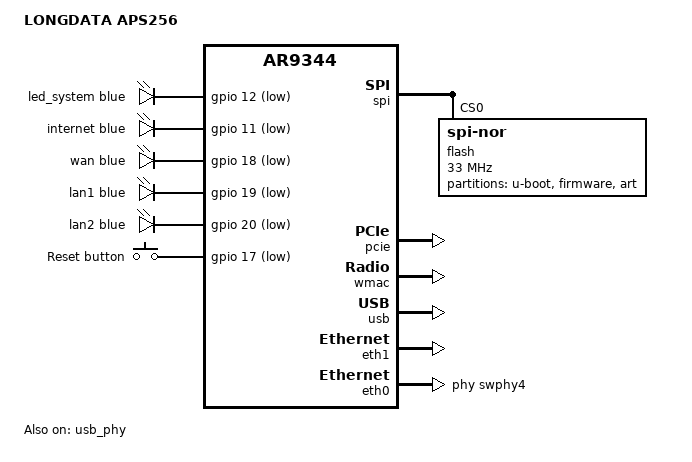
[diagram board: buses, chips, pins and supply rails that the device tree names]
// SPDX-License-Identifier: GPL-2.0-or-later OR MIT

#include "ar9344.dtsi"

#include <dt-bindings/gpio/gpio.h>
#include <dt-bindings/input/input.h>
#include <dt-bindings/leds/common.h>

/ {
	model = "LONGDATA APS256";
	compatible = "longdata,aps256", "qca,ar9344";

	aliases {
		led-boot = &led_system;
		led-failsafe = &led_system;
		led-running = &led_system;
		led-upgrade = &led_system;
		label-mac-device = &wmac;
	};

	leds: leds {
		compatible = "gpio-leds";

		led_system: system {
			function = LED_FUNCTION_STATUS;
			color = <LED_COLOR_ID_BLUE>;
			gpios = <&gpio 12 GPIO_ACTIVE_LOW>;
			default-state = "on";
		};

		internet {
			function = LED_FUNCTION_WAN_ONLINE;
			color = <LED_COLOR_ID_BLUE>;
			gpios = <&gpio 11 GPIO_ACTIVE_LOW>;
		};

		wan {
			function = LED_FUNCTION_WAN;
			color = <LED_COLOR_ID_BLUE>;
			gpios = <&gpio 18 GPIO_ACTIVE_LOW>;
		};

		lan1 {
			function = LED_FUNCTION_LAN;
			function-enumerator = <1>;
			color = <LED_COLOR_ID_BLUE>;
			gpios = <&gpio 19 GPIO_ACTIVE_LOW>;
		};

		lan2 {
			function = LED_FUNCTION_LAN;
			function-enumerator = <2>;
			color = <LED_COLOR_ID_BLUE>;
			gpios = <&gpio 20 GPIO_ACTIVE_LOW>;
		};
	};

	keys {
		compatible = "gpio-keys";

		reset {
			label = "Reset button";
			linux,code = <KEY_RESTART>;
			gpios = <&gpio 17 GPIO_ACTIVE_LOW>;
			debounce-interval = <60>;
		};
	};
};

&ref {
	clock-frequency = <40000000>;
};

&spi {
	status = "okay";

	flash@0 {
		compatible = "jedec,spi-nor";
		reg = <0>;
		spi-max-frequency = <33000000>;

		partitions {
			compatible = "fixed-partitions";
			#address-cells = <1>;
			#size-cells = <1>;

			uboot: partition@0 {
				label = "u-boot";
				reg = <0x000000 0x020000>;
				read-only;
			};

			partition@20000 {
				compatible = "denx,uimage";
				label = "firmware";
				reg = <0x020000 0xfd0000>;
			};

			partition@7f0000 {
				label = "art";
				reg = <0xff0000 0x010000>;
				read-only;


				nvmem-layout {
					compatible = "fixed-layout";
					#address-cells = <1>;
					#size-cells = <1>;

					cal_art_1000: calibration@1000 {
						reg = <0x1000 0x440>;
					};

					macaddr_art_1002: macaddr@1002 {
						compatible = "mac-base";
						reg = <0x1002 0x6>;
						#nvmem-cell-cells = <1>;
					};
				};
			};
		};
	};
};

&pcie {
	status = "okay";
};

&wmac {
	status = "okay";

	nvmem-cells = <&cal_art_1000>;
	nvmem-cell-names = "calibration";

	led {
		led-sources = <13>;
		led-active-low;
	};
};

&gpio {

};

&usb_phy {
	status = "okay";
};

&usb {
	#address-cells = <1>;
	#size-cells = <0>;
	status = "okay";

	hub_port: port@1 {
		reg = <1>;
		#trigger-source-cells = <0>;
	};
};

&eth1 {
	status = "okay";

	nvmem-cells = <&macaddr_art_1002 0>;
	nvmem-cell-names = "mac-address";

	gmac-config {
		device = <&gmac>;
		switch-phy-swap = <0>;
		switch-only-mode = <0>;
	};
};

&eth0 {
	status = "okay";

	phy-handle = <&swphy4>;

	nvmem-cells = <&macaddr_art_1002 1>;
	nvmem-cell-names = "mac-address";
};

